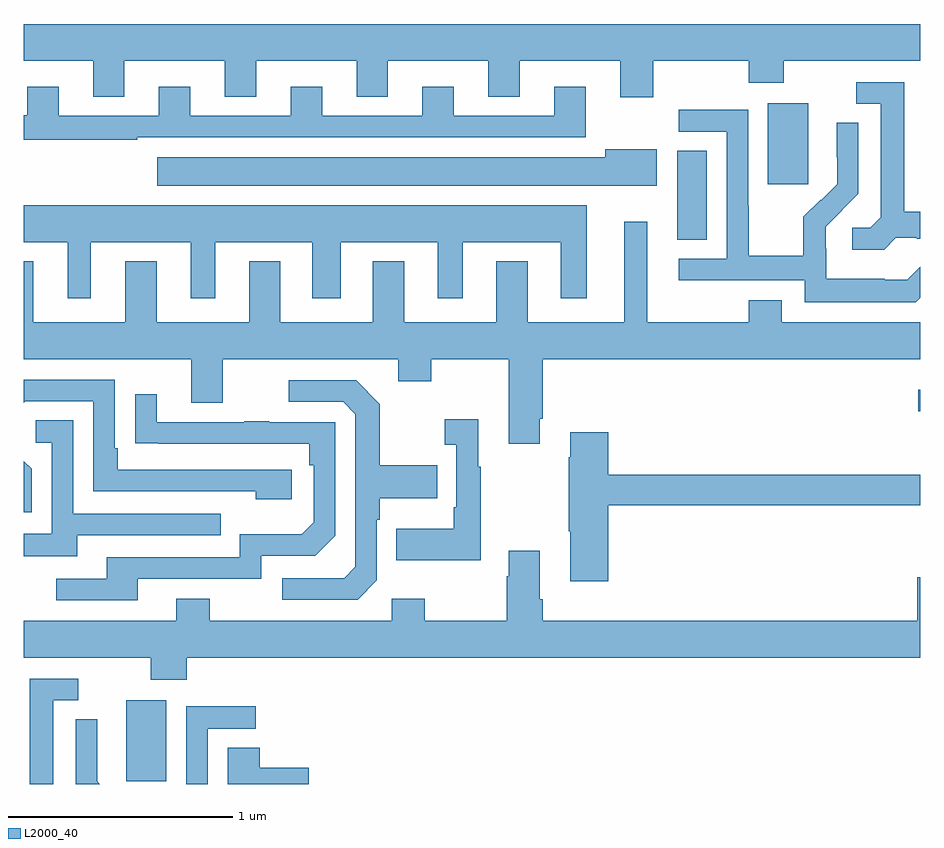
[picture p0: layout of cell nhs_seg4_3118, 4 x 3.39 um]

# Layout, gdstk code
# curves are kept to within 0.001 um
import gdstk
lib = gdstk.Library(unit=1e-6, precision=1e-09)
def R(c, l, rs):  # rectangles x0, y0, x1, y1
    for r in rs: c.add(gdstk.rectangle(r[:2], r[2:], *l))
def P(c, l, *ps):  # polygons
    for p in ps: c.add(gdstk.Polygon(p, *l))
L2000_40 = (2000, 40)

nhs_seg4_3118 = lib.new_cell('nhs_seg4_3118')
R(nhs_seg4_3118, L2000_40, [(275.456,818.913,275.635,819.274), (278.991,820.563,279,820.66), (277.916,821.329,278.047,821.726), (278.321,821.577,278.5,821.938)])
P(nhs_seg4_3118, L2000_40, [(277.809,822.128),(278.236,822.128),(278.236,822.029),(278.391,822.029),(278.391,822.128),(279,822.128),(279,822.292),(275,822.292),(275,822.128),(275.309,822.128),(275.309,821.968),(275.449,821.968),(275.449,822.128),(275.897,822.128),(275.897,821.968),(276.037,821.968),(276.037,822.128),(276.485,822.128),(276.485,821.968),(276.625,821.968),(276.625,822.128),(277.073,822.128),(277.073,821.968),(277.213,821.968),(277.213,822.128),(277.661,822.128),(277.661,821.964),(277.809,821.964)],
  [(278.892,821.337),(278.986,821.337),(278.986,821.334),(279,821.334),(279,821.453),(278.929,821.453),(278.929,822.033),(278.715,822.033),(278.715,821.937),(278.825,821.937),(278.825,821.429),(278.778,821.382),(278.697,821.382),(278.697,821.285),(278.84,821.285)],
  [(275.507,821.787),(277.507,821.787),(277.507,822.013),(277.367,822.013),(277.367,821.883),(276.919,821.883),(276.919,822.013),(276.779,822.013),(276.779,821.883),(276.331,821.883),(276.331,822.013),(276.191,822.013),(276.191,821.883),(275.743,821.883),(275.743,822.013),(275.603,822.013),(275.603,821.883),(275.155,821.883),(275.155,822.013),(275.015,822.013),(275.015,821.884),(275,821.884),(275,821.775),(275.507,821.775)],
  [(279,821.07),(279,821.208),(278.943,821.151),(278.843,821.151),(278.843,821.155),(278.58,821.155),(278.58,821.289),(278.578,821.289),(278.578,821.386),(278.724,821.534),(278.724,821.852),(278.628,821.852),(278.628,821.698),(278.63,821.698),(278.63,821.576),(278.559,821.505),(278.556,821.508),(278.479,821.431),(278.479,821.257),(278.235,821.257),(278.235,821.48),(278.232,821.48),(278.232,821.91),(277.923,821.91),(277.923,821.811),(278.136,821.811),(278.136,821.244),(277.923,821.244),(277.923,821.148),(278.484,821.148),(278.484,821.051),(278.981,821.051)],
  [(277.825,821.734),(277.595,821.734),(277.595,821.698),(275.595,821.698),(275.595,821.57),(277.825,821.57)],
  [(275.299,821.318),(275.744,821.318),(275.744,821.067),(275.854,821.067),(275.854,821.318),(276.287,821.318),(276.287,821.067),(276.415,821.067),(276.415,821.318),(276.848,821.318),(276.848,821.067),(276.958,821.067),(276.958,821.318),(277.397,821.318),(277.397,821.067),(277.513,821.067),(277.513,821.482),(275,821.482),(275,821.318),(275.195,821.318),(275.195,821.067),(275.299,821.067)],
  [(277.303,820.531),(277.316,820.531),(277.316,820.796),(279,820.796),(279,820.96),(278.383,820.96),(278.383,821.059),(278.236,821.059),(278.236,820.96),(277.783,820.96),(277.783,821.41),(277.679,821.41),(277.679,820.96),(277.249,820.96),(277.249,821.233),(277.109,821.233),(277.109,820.96),(276.697,820.96),(276.697,821.233),(276.557,821.233),(276.557,820.96),(276.145,820.96),(276.145,821.233),(276.005,821.233),(276.005,820.96),(275.593,820.96),(275.593,821.233),(275.453,821.233),(275.453,820.96),(275.041,820.96),(275.041,821.233),(275,821.233),(275,820.796),(275.747,820.796),(275.747,820.602),(275.887,820.602),(275.887,820.796),(276.671,820.796),(276.671,820.697),(276.819,820.697),(276.819,820.796),(277.163,820.796),(277.163,820.419),(277.303,820.419)],
  [(276.196,820.302),(275.419,820.302),(275.419,820.399),(275.406,820.399),(275.406,820.704),(275,820.704),(275,820.601),(275.007,820.608),(275.31,820.608),(275.31,820.206),(276.035,820.206),(276.035,820.172),(276.196,820.172)],
  [(276.576,819.81),(276.576,820.079),(276.589,820.079),(276.589,820.175),(276.845,820.175),(276.845,820.323),(276.589,820.323),(276.589,820.595),(276.483,820.701),(276.183,820.701),(276.183,820.605),(276.426,820.605),(276.48,820.551),(276.48,819.87),(276.429,819.819),(276.153,819.819),(276.153,819.723),(276.489,819.723)],
  [(275.509,819.816),(276.06,819.816),(276.06,819.918),(276.3,819.918),(276.39,820.008),(276.39,820.515),(276.095,820.515),(276.095,820.52),(275.983,820.52),(275.983,820.515),(275.593,820.515),(275.593,820.639),(275.497,820.639),(275.497,820.42),(276.274,820.419),(276.274,820.322),(276.294,820.322),(276.294,820.068),(276.241,820.015),(275.964,820.015),(275.964,819.912),(275.369,819.912),(275.369,819.816),(275.145,819.816),(275.145,819.72),(275.509,819.72)],
  [(277.039,820.315),(277.027,820.315),(277.027,820.528),(276.879,820.528),(276.879,820.415),(276.93,820.415),(276.93,820.135),(276.918,820.135),(276.918,820.039),(276.661,820.039),(276.661,819.899),(277.039,819.899)],
  [(275.239,820.011),(275.879,820.011),(275.879,820.107),(275.22,820.107),(275.22,820.523),(275.052,820.523),(275.052,820.422),(275.124,820.422),(275.124,820.017),(275,820.017),(275,819.917),(275.239,819.917)],
  [(277.607,820.144),(279,820.144),(279,820.28),(277.607,820.28),(277.607,820.471),(277.439,820.471),(277.439,820.358),(277.432,820.358),(277.432,820.027),(277.439,820.027),(277.439,819.804),(277.607,819.804)],
  [(275.034,820.306),(275,820.34),(275,820.113),(275.034,820.113)],
  [(275.726,819.464),(279,819.464),(279,819.823),(278.987,819.823),(278.987,819.628),(277.316,819.628),(277.316,819.724),(277.303,819.724),(277.303,819.94),(277.163,819.94),(277.163,819.827),(277.156,819.827),(277.156,819.628),(276.789,819.628),(276.789,819.727),(276.642,819.727),(276.642,819.628),(275.829,819.628),(275.829,819.727),(275.681,819.727),(275.681,819.628),(275,819.628),(275,819.464),(275.566,819.464),(275.566,819.365),(275.726,819.365)],
  [(275.131,819.273),(275.242,819.273),(275.242,819.369),(275.027,819.369),(275.027,818.9),(275.131,818.9)],
  [(275.82,819.147),(276.034,819.147),(276.034,819.246),(275.724,819.246),(275.724,818.9),(275.82,818.9)],
  [(275.327,818.912),(275.327,819.034),(275.328,819.034),(275.328,819.188),(275.232,819.188),(275.232,818.9),(275.339,818.9)],
  [(276.271,818.972),(276.053,818.972),(276.053,819.062),(275.909,819.062),(275.909,818.9),(276.271,818.9)])

lib.write_gds('nhs_seg4_3118.gds')
